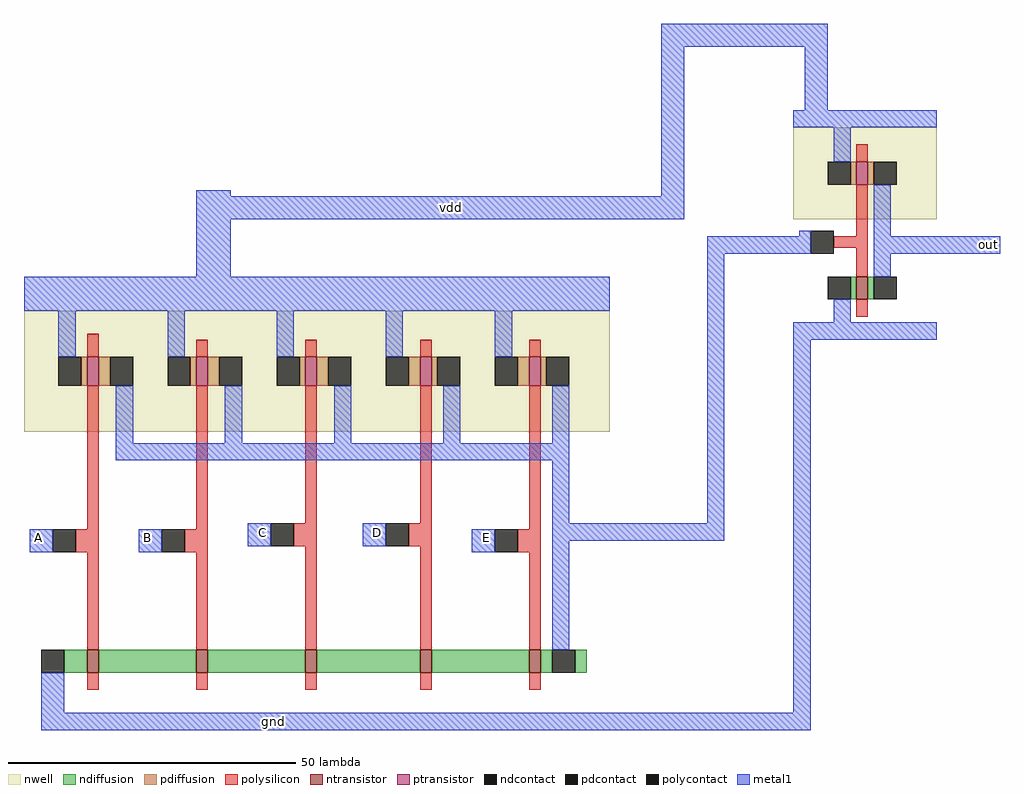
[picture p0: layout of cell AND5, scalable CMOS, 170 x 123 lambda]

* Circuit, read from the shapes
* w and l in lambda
.subckt AND5 A B C D E gnd out vdd
M1 n1 A gnd VSUBS nfet w=4 l=2
M2 n2 B n1 VSUBS nfet w=4 l=2
M3 n3 C n2 VSUBS nfet w=4 l=2
M4 n4 D n3 VSUBS nfet w=4 l=2
M5 not_0/in E n4 VSUBS nfet w=4 l=2
M6 out not_0/in gnd VSUBS nfet w=4 l=2
M7 not_0/in A vdd n5 pfet w=5 l=2
M8 not_0/in B vdd n5 pfet w=5 l=2
M9 not_0/in C vdd n5 pfet w=5 l=2
M10 not_0/in D vdd n5 pfet w=5 l=2
M11 not_0/in E vdd n5 pfet w=5 l=2
M12 out not_0/in vdd n6 pfet w=4 l=2
.ends

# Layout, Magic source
magic
tech scmos
<< nwell >>
rect -22 7 80 28
<< ntransistor >>
rect -11 -35 -9 -31
rect 8 -35 10 -31
rect 27 -35 29 -31
rect 47 -35 49 -31
rect 66 -35 68 -31
<< ptransistor >>
rect -11 15 -9 20
rect 8 15 10 20
rect 27 15 29 20
rect 47 15 49 20
rect 66 15 68 20
<< ndiffusion >>
rect -15 -35 -11 -31
rect -9 -35 8 -31
rect 10 -35 27 -31
rect 29 -35 47 -31
rect 49 -35 66 -31
rect 68 -35 70 -31
rect 74 -35 76 -31
<< pdiffusion >>
rect -12 15 -11 20
rect -9 15 -7 20
rect 7 15 8 20
rect 10 15 12 20
rect 26 15 27 20
rect 29 15 31 20
rect 45 15 47 20
rect 49 15 50 20
rect 64 15 66 20
rect 68 15 69 20
<< ndcontact >>
rect -19 -35 -15 -31
rect 70 -35 74 -31
<< pdcontact >>
rect -16 15 -12 20
rect -7 15 -3 20
rect 3 15 7 20
rect 12 15 16 20
rect 22 15 26 20
rect 31 15 35 20
rect 41 15 45 20
rect 50 15 54 20
rect 60 15 64 20
rect 69 15 73 20
<< polysilicon >>
rect -11 20 -9 24
rect 8 20 10 23
rect 27 20 29 23
rect 47 20 49 23
rect 66 20 68 23
rect -11 -10 -9 15
rect 8 -10 10 15
rect 27 -9 29 15
rect 47 -9 49 15
rect -13 -14 -9 -10
rect 6 -14 10 -10
rect 25 -13 29 -9
rect 45 -13 49 -9
rect 66 -10 68 15
rect -11 -31 -9 -14
rect 8 -31 10 -14
rect 27 -31 29 -13
rect 47 -31 49 -13
rect 64 -14 68 -10
rect 66 -31 68 -14
rect -11 -38 -9 -35
rect 8 -38 10 -35
rect 27 -38 29 -35
rect 47 -38 49 -35
rect 66 -38 68 -35
<< polycontact >>
rect -17 -14 -13 -10
rect 2 -14 6 -10
rect 21 -13 25 -9
rect 41 -13 45 -9
rect 60 -14 64 -10
<< metal1 >>
rect 89 74 118 78
rect 8 48 14 49
rect 89 48 93 74
rect 114 62 118 74
rect 8 44 93 48
rect 8 34 14 44
rect 97 38 113 41
rect 134 38 148 41
rect -22 28 80 34
rect -16 20 -13 28
rect 3 20 6 28
rect 22 20 25 28
rect 41 20 44 28
rect 60 20 63 28
rect -6 5 -3 15
rect 13 5 16 15
rect 32 5 35 15
rect 51 5 54 15
rect 70 5 73 15
rect -6 2 73 5
rect 70 -9 73 2
rect 97 -9 100 38
rect -21 -14 -17 -10
rect -2 -14 2 -10
rect 17 -13 21 -9
rect 37 -13 41 -9
rect 56 -14 60 -10
rect 70 -12 100 -9
rect 70 -31 73 -12
rect -19 -42 -15 -35
rect 112 -42 115 24
rect -19 -45 115 -42
use not  not_0
transform 1 0 121 0 1 43
box -9 -20 16 20
<< labels >>
rlabel metal1 50 45 55 47 1 vdd
rlabel metal1 145 39 147 40 7 out
rlabel metal1 20 -44 23 -43 1 gnd
rlabel metal1 -20 -12 -19 -11 3 A
rlabel metal1 -1 -12 0 -11 1 B
rlabel metal1 19 -11 20 -10 1 C
rlabel metal1 39 -11 40 -10 1 D
rlabel metal1 58 -12 59 -11 1 E
<< end >>

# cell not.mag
magic
tech scmos
<< nwell >>
rect -9 1 16 17
<< ntransistor >>
rect 2 -13 4 -9
<< ptransistor >>
rect 2 7 4 11
<< ndiffusion >>
rect 1 -13 2 -9
rect 4 -13 5 -9
<< pdiffusion >>
rect 1 7 2 11
rect 4 7 5 11
<< ndcontact >>
rect -3 -13 1 -9
rect 5 -13 9 -9
<< pdcontact >>
rect -3 7 1 11
rect 5 7 9 11
<< polysilicon >>
rect 2 11 4 14
rect 2 -2 4 7
rect -2 -4 4 -2
rect 2 -9 4 -4
rect 2 -16 4 -13
<< polycontact >>
rect -6 -5 -2 -1
<< metal1 >>
rect -9 17 16 20
rect -2 11 1 17
rect -8 -5 -6 -1
rect 5 -2 8 7
rect 5 -5 16 -2
rect 5 -9 8 -5
rect -2 -17 1 -13
rect -9 -20 16 -17
<< labels >>
rlabel metal1 -5 18 -3 19 4 VDD
rlabel metal1 -8 -4 -7 -2 3 in
rlabel metal1 13 -4 15 -3 7 out
rlabel metal1 -2 -19 0 -18 1 gnd
<< end >>
